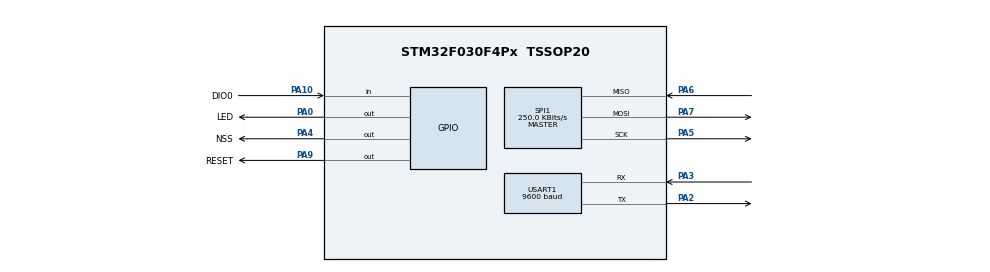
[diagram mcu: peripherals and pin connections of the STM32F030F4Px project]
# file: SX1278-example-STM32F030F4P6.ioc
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Mcu.Family=STM32F0
Mcu.Name=STM32F030F4Px
Mcu.Package=TSSOP20
PA0.GPIO_Label=LED
PA0.Signal=GPIO_Output
PA10.GPIO_Label=DIO0
PA10.Signal=GPIO_Input
PA2.Mode=Asynchronous
PA2.Signal=USART1_TX
PA3.Mode=Asynchronous
PA3.Signal=USART1_RX
PA4.GPIO_Label=NSS
PA4.Signal=GPIO_Output
PA5.Mode=Full_Duplex_Master
PA5.Signal=SPI1_SCK
PA6.Mode=Full_Duplex_Master
PA6.Signal=SPI1_MISO
PA7.Mode=Full_Duplex_Master
PA7.Signal=SPI1_MOSI
PA9.GPIO_Label=RESET
PA9.Signal=GPIO_Output
ProjectManager.HeapSize=0x200
ProjectManager.StackSize=0x400
ProjectManager.TargetToolchain=TrueSTUDIO
SPI1.BaudRatePrescaler=SPI_BAUDRATEPRESCALER_32
SPI1.CalculateBaudRate=250.0 KBits/s
SPI1.DataSize=SPI_DATASIZE_8BIT
SPI1.Direction=SPI_DIRECTION_2LINES
SPI1.Mode=SPI_MODE_MASTER
SPI1.VirtualType=VM_MASTER
USART1.BaudRate=9600
USART1.VirtualMode-Asynchronous=VM_ASYNC
board=custom

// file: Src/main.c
/* USER CODE BEGIN Header */
/**
 ******************************************************************************
 * @file           : main.c
 * @brief          : Main program body
 ******************************************************************************
 * @attention
 *
 * <h2><center>&copy; Copyright (c) 2019 STMicroelectronics.
 * All rights reserved.</center></h2>
 *
 * This software component is licensed by ST under BSD 3-Clause license,
 * the "License"; You may not use this file except in compliance with the
 * License. You may obtain a copy of the License at:
 *                        opensource.org/licenses/BSD-3-Clause
 *
 ******************************************************************************
 */
/* USER CODE END Header */

#include "main.h"
#include "spi.h"
#include "usart.h"
#include "gpio.h"

/* USER CODE BEGIN Includes */

#include "stdint.h"

#include <stdio.h>
#include "SX1278.h"

/* USER CODE END Includes */

/* USER CODE BEGIN PV */
/* Private variables ---------------------------------------------------------*/

/* USER CODE END PV */

void SystemClock_Config(void);
/* USER CODE BEGIN PFP */
/* Private function prototypes -----------------------------------------------*/

int _write(int file, char *ptr, int len) {
	HAL_UART_Transmit(&huart1, (uintptr_t) ptr, len, 50);  // uintptr_t  uint8_t
	return len;
}

/* USER CODE END PFP */

/* USER CODE BEGIN 0 */

SX1278_hw_t SX1278_hw;
SX1278_t SX1278;

int master;
int ret;

char buffer[64];

int message;
int message_length;

/* USER CODE END 0 */

int main(void) {

	/* MCU Configuration--------------------------------------------------------*/

	/* Reset of all peripherals, Initializes the Flash interface and the Systick. */
	HAL_Init();

	/* Configure the system clock */
	SystemClock_Config();

	/* Initialize all configured peripherals */
	MX_GPIO_Init();
	MX_SPI1_Init();
	MX_USART1_UART_Init();
	/* USER CODE BEGIN 2 */
	master = 1;
	printf("Mode: Master\r\n");
	//HAL_GPIO_WritePin(MODE_GPIO_Port, MODE_Pin, GPIO_PIN_RESET);

	//initialize LoRa module
	SX1278_hw.dio0.port = DIO0_GPIO_Port;
	SX1278_hw.dio0.pin = DIO0_Pin;
	SX1278_hw.nss.port = NSS_GPIO_Port;
	SX1278_hw.nss.pin = NSS_Pin;
	SX1278_hw.reset.port = RESET_GPIO_Port;
	SX1278_hw.reset.pin = RESET_Pin;
	SX1278_hw.spi = &hspi1;

	SX1278.hw = &SX1278_hw;

	printf("Configuring LoRa module\r\n");
	SX1278_begin(&SX1278, SX1278_433MHZ, SX1278_POWER_20DBM, SX1278_LORA_SF_7,
	SX1278_LORA_BW_125KHZ, 8);
	printf("Done configuring LoRaModule\r\n");

	ret = SX1278_LoRaEntryTx(&SX1278, 16, 2000);
	printf("1. ret=%i\r\n", ret);

	printf("2. Version=%u\r\n", LoRa_readRegister(&SX1278, REG_VERSION));
	printf("2. REG_LR_DIOMAPPING1: %u\r\n",
			LoRa_readRegister(&SX1278, REG_LR_DIOMAPPING1));
	printf("2. REG_LR_PADAC: %u\r\n", LoRa_readRegister(&SX1278, REG_LR_PADAC));
	printf("2. LR_RegIrqFlagsMask: %u\r\n",
			LoRa_readRegister(&SX1278, LR_RegIrqFlagsMask));
	printf("2. LR_RegPayloadLength: %u\r\n",
			LoRa_readRegister(&SX1278, LR_RegPayloadLength));
	printf("2. LR_RegFifoRxBaseAddr: %u\r\n",
			LoRa_readRegister(&SX1278, LR_RegFifoRxBaseAddr));

	/* USER CODE END 2 */

	/* Infinite loop */
	/* USER CODE BEGIN WHILE */
	while (1) {
		printf("Master ...\r\n");
		HAL_Delay(3000); // 10 Seconds
		printf("Sending package...\r\n");

		message_length = sprintf(buffer, "Hello %d", message);
		ret = SX1278_LoRaEntryTx(&SX1278, message_length, 2000);
		printf("Entry: %d\r\n", ret);

		printf("Sending %s\r\n", buffer);
		ret = SX1278_LoRaTxPacket(&SX1278, (uint8_t *) buffer, message_length,
				2000);
		message += 1;

		printf("Transmission: %d\r\n", ret);
		printf("Package sent...\r\n");

		/* USER CODE END WHILE */

	}
}

void SystemClock_Config(void) {
	RCC_OscInitTypeDef RCC_OscInitStruct = { 0 };
	RCC_ClkInitTypeDef RCC_ClkInitStruct = { 0 };
	RCC_PeriphCLKInitTypeDef PeriphClkInit = { 0 };

	/** Initializes the CPU, AHB and APB busses clocks
	 */
	RCC_OscInitStruct.OscillatorType = RCC_OSCILLATORTYPE_HSI;
	RCC_OscInitStruct.HSIState = RCC_HSI_ON;
	RCC_OscInitStruct.HSICalibrationValue = RCC_HSICALIBRATION_DEFAULT;
	RCC_OscInitStruct.PLL.PLLState = RCC_PLL_NONE;
	if (HAL_RCC_OscConfig(&RCC_OscInitStruct) != HAL_OK) {
		Error_Handler();
	}
	/** Initializes the CPU, AHB and APB busses clocks
	 */
	RCC_ClkInitStruct.ClockType = RCC_CLOCKTYPE_HCLK | RCC_CLOCKTYPE_SYSCLK
			| RCC_CLOCKTYPE_PCLK1;
	RCC_ClkInitStruct.SYSCLKSource = RCC_SYSCLKSOURCE_HSI;
	RCC_ClkInitStruct.AHBCLKDivider = RCC_SYSCLK_DIV1;
	RCC_ClkInitStruct.APB1CLKDivider = RCC_HCLK_DIV1;

	if (HAL_RCC_ClockConfig(&RCC_ClkInitStruct, FLASH_LATENCY_0) != HAL_OK) {
		Error_Handler();
	}
	PeriphClkInit.PeriphClockSelection = RCC_PERIPHCLK_USART1;
	PeriphClkInit.Usart1ClockSelection = RCC_USART1CLKSOURCE_PCLK1;
	if (HAL_RCCEx_PeriphCLKConfig(&PeriphClkInit) != HAL_OK) {
		Error_Handler();
	}
}

void Error_Handler(void) {
}

/************************ (C) COPYRIGHT STMicroelectronics *****END OF FILE****/
